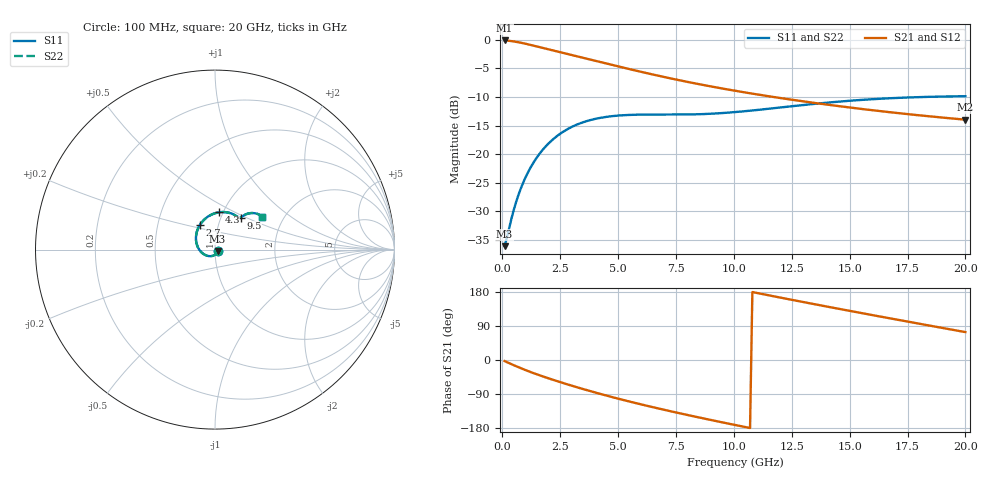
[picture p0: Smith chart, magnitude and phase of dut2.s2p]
! Touchstone file exported from HFSS 2023.1.0
!  File:  D:/Users/fzz/RDL_TSV/temp_RDL_TSV_2_1778742339.aedt
!  Generated:  3:17:00 %x4E0B%x5348  5%x6708 14, 2026
!  Design:  RDL_TSV
!  Project:  temp_RDL_TSV_2_1778742339
!  Setup:  Setup1
!  Solution:  Sweep
! Variables:
!  dtsv = 17.55um
!  hbump = 3um
!  htsv = 98.23um
!  ldown = 552.75um
!  lrdl = 538.35um
!  p = 40
!  p1 = 56.75um
!  rhole = 10um
!  subl = 3811.65um
!  t = 450um
!  tdown = 4.68um
!  trdl = 3.72um
!  viad = 10um
!  wdown = 19.07um
!  wrdl = 26.37um
!  xbump = 18um
# GHz S MA R 50.000000
! Terminal data exported
! Port[1] = TM1_1_T1
! Port[2] = TM1_4_T1
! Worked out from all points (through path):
!   200 points, 100 MHz to 20 GHz, reference 50 ohm
!   highest |S21| = -0.14 dB at 100 MHz (marker M1); lowest = -14.0 dB at 20 GHz (marker M2)
!   group delay of S21, straight-line fit = 37.3 ps
!   lowest |S11| = -36.1 dB at 100 MHz (marker M3), VSWR 1.03, Z = 51.4 - j0.725 ohm
!   |S11| at or under -10 dB: start of sweep to 18.27 GHz
!   |S22| runs from -36.1 to -9.9 dB; largest |S21 - S12| = 9.7e-15
!   S11 on the Smith chart (normalised r, x): 100 MHz: 1.03, -0.01; 2.7 GHz: 0.81, +0.23; 4.3 GHz: 0.95, +0.41; 9.5 GHz: 1.24, +0.47; 20 GHz: 1.56, +0.63
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0.1  0.01573 -26.6  0.9841 -2.9  0.9841 -2.9  0.01574 -26.6
! Gamma 0 0 0 0
! Port Impedance 50 0 50 0
0.4  0.0276 -86.6  0.9711 -11.2  0.9711 -11.2  0.02761 -86.6
0.6  0.03844 -113.0  0.9574 -16.5  0.9574 -16.5  0.03844 -112.9
0.8  0.05022 -133.9  0.9406 -21.6  0.9406 -21.6  0.05021 -133.8
1.1  0.06882 -159.3  0.9119 -28.9  0.9119 -28.9  0.06877 -159.2
1.4  0.0878 -179.8  0.8817 -35.8  0.8817 -35.8  0.08768 -179.7
1.8  0.1125 158.1  0.8419 -44.4  0.8419 -44.4  0.1123 158.2
2.2  0.1354 140.3  0.8041 -52.5  0.8041 -52.5  0.1351 140.4
2.7  0.1603 122.2  0.7595 -62.2  0.7595 -62.2  0.1599 122.3
3.5  0.1903 100.3  0.6934 -76.8  0.6934 -76.8  0.1897 100.4
4.3  0.2088 84.3  0.6328 -90.6  0.6328 -90.6  0.208 84.4
4.9  0.2164 75.2  0.5911 -100.4  0.5911 -100.4  0.2156 75.3
5.5  0.2203 68.0  0.5527 -109.7  0.5527 -109.7  0.2194 68.2
6.8  0.2217 58.0  0.4811 -128.8  0.4811 -128.8  0.2209 58.2
8.1  0.2223 53.3  0.4237 -146.5  0.4237 -146.5  0.2216 53.5
9.5  0.2286 51.4  0.3745 -164.6  0.3745 -164.6  0.2281 51.6
10.1  0.2336 51.0  0.3566 -172.1  0.3566 -172.1  0.2331 51.2
11.7  0.2517 49.6  0.316 168.4  0.316 168.4  0.2514 49.8
13.4  0.274 47.2  0.2818 148.2  0.2818 148.2  0.2738 47.3
15  0.2928 44.0  0.2557 129.7  0.2557 129.7  0.2928 44.2
16.7  0.3077 40.4  0.233 110.4  0.233 110.4  0.3077 40.6
20  0.3208 34.5  0.2002 73.6  0.2002 73.6  0.3209 34.6
